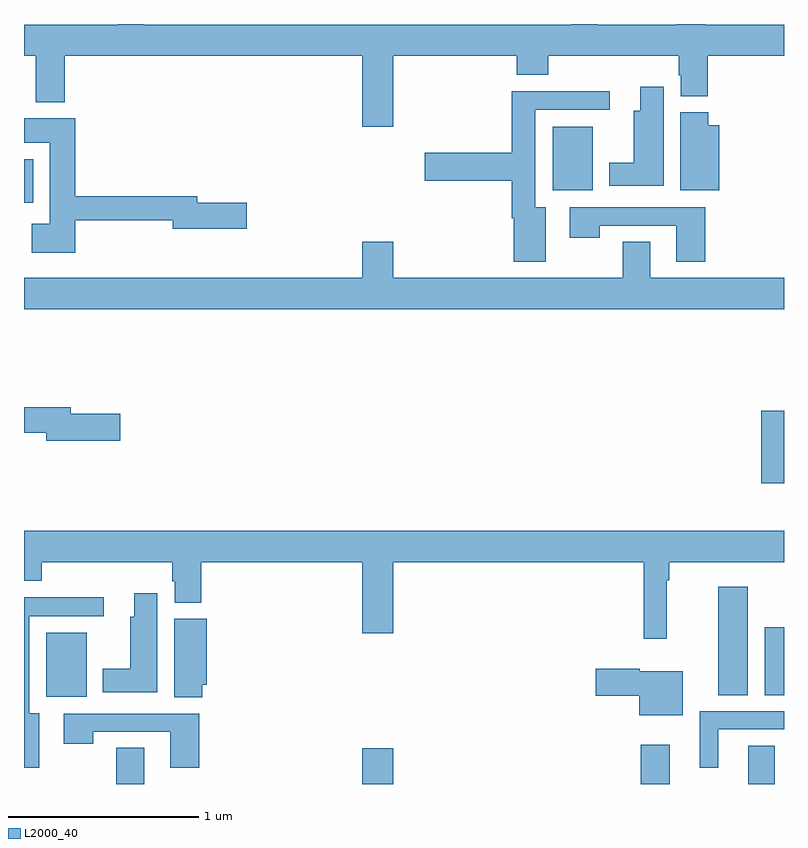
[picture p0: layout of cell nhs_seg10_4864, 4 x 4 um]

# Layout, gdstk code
import gdstk
lib = gdstk.Library(unit=1e-6, precision=1e-09)
def R(c, l, rs):  # rectangles x0, y0, x1, y1
    for r in rs: c.add(gdstk.rectangle(r[:2], r[2:], *l))
def P(c, l, *ps):  # polygons
    for p in ps: c.add(gdstk.Polygon(p, *l))
L2000_40 = (2000, 40)

nhs_seg10_4864 = lib.new_cell('nhs_seg10_4864')
R(nhs_seg10_4864, L2000_40, [(391.486,1280.5,391.633,1280.69), (392.78,1280.5,392.944,1280.689), (394.247,1280.5,394.399,1280.707), (394.811,1280.5,394.951,1280.702), (391.118,1280.96,391.33,1281.295), (394.655,1280.968,394.81,1281.538), (394.898,1280.968,395,1281.325), (394.88,1282.083,395,1282.464), (391,1283.558,391.048,1283.788), (393.782,1283.624,393.994,1283.959)])
P(nhs_seg10_4864, L2000_40, [(392.944,1284.332),(393.593,1284.332),(393.593,1284.233),(393.758,1284.233),(393.758,1284.332),(394.445,1284.332),(394.445,1284.231),(394.457,1284.231),(394.457,1284.121),(394.598,1284.121),(394.598,1284.332),(395,1284.332),(395,1284.496),(394.586,1284.496),(394.586,1284.5),(394.433,1284.5),(394.433,1284.496),(394.021,1284.496),(394.021,1284.5),(393.881,1284.5),(393.881,1284.496),(391.633,1284.496),(391.633,1284.5),(391.494,1284.5),(391.494,1284.496),(391,1284.496),(391,1284.332),(391.061,1284.332),(391.061,1284.089),(391.214,1284.089),(391.214,1284.332),(392.78,1284.332),(392.78,1283.958),(392.944,1283.958)],
  [(394.366,1284.169),(394.244,1284.169),(394.244,1284.043),(394.208,1284.043),(394.208,1283.77),(394.079,1283.77),(394.079,1283.648),(394.366,1283.648)],
  [(393.745,1283.536),(393.691,1283.536),(393.691,1284.048),(394.084,1284.048),(394.084,1284.146),(393.566,1284.146),(393.566,1283.822),(393.108,1283.822),(393.108,1283.675),(393.566,1283.675),(393.566,1283.477),(393.578,1283.477),(393.578,1283.25),(393.745,1283.25)],
  [(394.66,1283.968),(394.601,1283.968),(394.601,1284.036),(394.454,1284.036),(394.454,1283.624),(394.66,1283.624)],
  [(391.271,1283.466),(391.784,1283.466),(391.784,1283.423),(392.173,1283.423),(392.173,1283.558),(391.912,1283.558),(391.912,1283.594),(391.271,1283.594),(391.271,1284.004),(391,1284.004),(391,1283.876),(391.136,1283.876),(391.136,1283.449),(391.041,1283.449),(391.041,1283.297),(391.271,1283.297)],
  [(394.586,1283.535),(393.873,1283.535),(393.873,1283.376),(394.029,1283.376),(394.029,1283.439),(394.433,1283.439),(394.433,1283.25),(394.586,1283.25)],
  [(394.15,1283.354),(394.15,1283.164),(392.944,1283.164),(392.944,1283.353),(392.78,1283.353),(392.78,1283.164),(391,1283.164),(391,1283),(395,1283),(395,1283.164),(394.297,1283.164),(394.297,1283.354)],
  [(391.507,1282.448),(391.246,1282.448),(391.246,1282.484),(391,1282.484),(391,1282.348),(391.118,1282.348),(391.118,1282.306),(391.507,1282.306)],
  [(394.382,1281.572),(394.397,1281.572),(394.397,1281.668),(395,1281.668),(395,1281.832),(391,1281.832),(391,1281.569),(391.094,1281.569),(391.094,1281.668),(391.781,1281.668),(391.781,1281.567),(391.793,1281.567),(391.793,1281.455),(391.934,1281.455),(391.934,1281.668),(392.78,1281.668),(392.78,1281.294),(392.944,1281.294),(392.944,1281.668),(394.261,1281.668),(394.261,1281.264),(394.382,1281.264)],
  [(391.702,1281.505),(391.58,1281.505),(391.58,1281.381),(391.559,1281.381),(391.559,1281.106),(391.415,1281.106),(391.415,1280.984),(391.702,1280.984)],
  [(391.081,1280.872),(391.027,1280.872),(391.027,1281.384),(391.42,1281.384),(391.42,1281.482),(391,1281.482),(391,1280.586),(391.081,1280.586)],
  [(391.937,1281.023),(391.963,1281.023),(391.963,1281.37),(391.79,1281.37),(391.79,1280.956),(391.937,1280.956)],
  [(394.468,1281.094),(394.242,1281.094),(394.242,1281.107),(394.008,1281.107),(394.008,1280.965),(394.238,1280.965),(394.238,1280.861),(394.468,1280.861)],
  [(394.654,1280.787),(395,1280.787),(395,1280.883),(394.556,1280.883),(394.556,1280.586),(394.654,1280.586)],
  [(391.922,1280.871),(391.209,1280.871),(391.209,1280.712),(391.365,1280.712),(391.365,1280.775),(391.769,1280.775),(391.769,1280.586),(391.922,1280.586)])

lib.write_gds('nhs_seg10_4864.gds')
